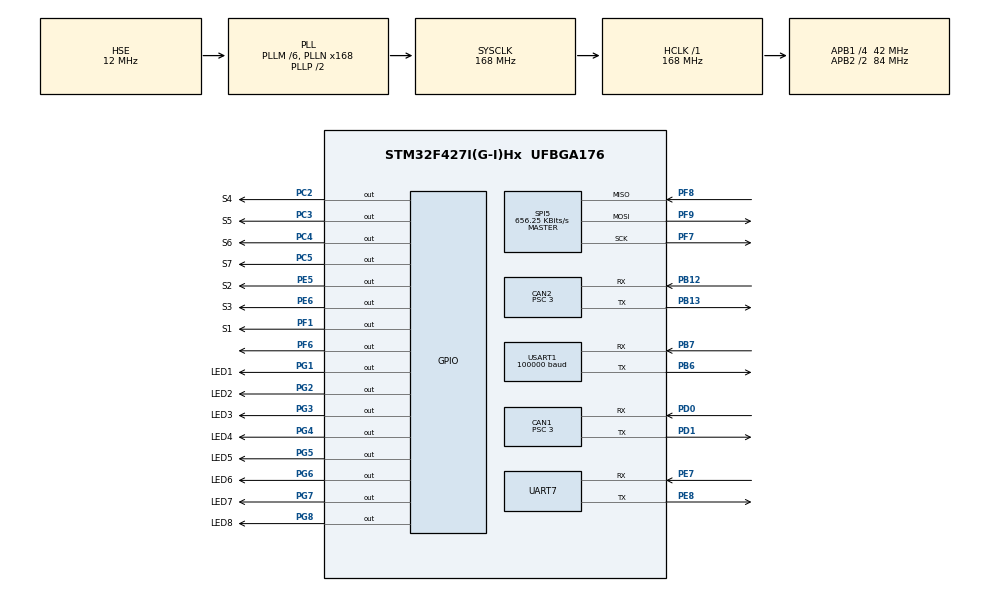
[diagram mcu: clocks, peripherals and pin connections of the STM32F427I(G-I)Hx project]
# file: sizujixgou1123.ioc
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CAN1.BS1=CAN_BS1_9TQ
CAN1.BS2=CAN_BS2_4TQ
CAN1.CalculateBaudRate=1000000
CAN1.CalculateTimeBit=1000
CAN1.CalculateTimeQuantum=71.42857142857143
CAN1.Prescaler=3
CAN1.SJW=CAN_SJW_1TQ
CAN2.BS1=CAN_BS1_9TQ
CAN2.BS2=CAN_BS2_4TQ
CAN2.CalculateBaudRate=1000000
CAN2.CalculateTimeBit=1000
CAN2.CalculateTimeQuantum=71.42857142857143
CAN2.Prescaler=3
Dma.Request0=USART1_RX
Dma.Request1=UART7_RX
Dma.UART7_RX.1.Direction=DMA_PERIPH_TO_MEMORY
Dma.UART7_RX.1.FIFOMode=DMA_FIFOMODE_DISABLE
Dma.UART7_RX.1.Instance=DMA1_Stream3
Dma.UART7_RX.1.MemDataAlignment=DMA_MDATAALIGN_BYTE
Dma.UART7_RX.1.MemInc=DMA_MINC_ENABLE
Dma.UART7_RX.1.Mode=DMA_NORMAL
Dma.UART7_RX.1.PeriphDataAlignment=DMA_PDATAALIGN_BYTE
Dma.UART7_RX.1.PeriphInc=DMA_PINC_DISABLE
Dma.UART7_RX.1.Priority=DMA_PRIORITY_LOW
Dma.USART1_RX.0.Direction=DMA_PERIPH_TO_MEMORY
Dma.USART1_RX.0.FIFOMode=DMA_FIFOMODE_DISABLE
Dma.USART1_RX.0.Instance=DMA2_Stream2
Dma.USART1_RX.0.MemDataAlignment=DMA_MDATAALIGN_BYTE
Dma.USART1_RX.0.MemInc=DMA_MINC_ENABLE
Dma.USART1_RX.0.Mode=DMA_NORMAL
Dma.USART1_RX.0.PeriphDataAlignment=DMA_PDATAALIGN_BYTE
Dma.USART1_RX.0.PeriphInc=DMA_PINC_DISABLE
Dma.USART1_RX.0.Priority=DMA_PRIORITY_VERY_HIGH
Mcu.Family=STM32F4
Mcu.Name=STM32F427I(G-I)Hx
Mcu.Package=UFBGA176
NVIC.CAN1_RX1_IRQn=true\:0\:0\:false\:false\:true\:true\:true\:true
NVIC.CAN2_RX1_IRQn=true\:0\:0\:false\:false\:true\:true\:true\:true
NVIC.DMA1_Stream3_IRQn=true\:0\:0\:false\:false\:true\:false\:true\:true
NVIC.DMA2_Stream2_IRQn=true\:0\:0\:false\:false\:true\:false\:true\:true
NVIC.PriorityGroup=NVIC_PRIORITYGROUP_4
NVIC.TIM2_IRQn=true\:15\:0\:false\:false\:true\:false\:true\:true
NVIC.TIM6_DAC_IRQn=true\:0\:0\:false\:false\:true\:true\:true\:true
NVIC.TIM7_IRQn=true\:0\:0\:false\:false\:true\:true\:true\:true
NVIC.TimeBase=TIM2_IRQn
NVIC.TimeBaseIP=TIM2
NVIC.UART7_IRQn=true\:0\:0\:false\:false\:true\:true\:true\:true
NVIC.USART1_IRQn=true\:0\:0\:false\:false\:true\:true\:true\:true
PA13.Mode=Serial_Wire
PA13.Signal=SYS_JTMS-SWDIO
PA14.Mode=Serial_Wire
PA14.Signal=SYS_JTCK-SWCLK
PB12.Mode=CAN_Activate
PB12.Signal=CAN2_RX
PB13.Mode=CAN_Activate
PB13.Signal=CAN2_TX
PB6.Mode=Asynchronous
PB6.Signal=USART1_TX
PB7.Mode=Asynchronous
PB7.Signal=USART1_RX
PC2.GPIO_Label=S4
PC2.GPIO_PuPd=GPIO_PULLDOWN
PC2.PinState=GPIO_PIN_RESET
PC2.Signal=GPIO_Output
PC3.GPIO_Label=S5
PC3.GPIO_PuPd=GPIO_PULLDOWN
PC3.Signal=GPIO_Output
PC4.GPIO_Label=S6
PC4.GPIO_PuPd=GPIO_PULLDOWN
PC4.Signal=GPIO_Output
PC5.GPIO_Label=S7
PC5.GPIO_PuPd=GPIO_PULLDOWN
PC5.Signal=GPIO_Output
PD0.Mode=CAN_Activate
PD0.Signal=CAN1_RX
PD1.Mode=CAN_Activate
PD1.Signal=CAN1_TX
PE5.GPIO_Label=S2
PE5.GPIO_PuPd=GPIO_PULLDOWN
PE5.Signal=GPIO_Output
PE6.GPIO_Label=S3
PE6.GPIO_PuPd=GPIO_PULLDOWN
PE6.Signal=GPIO_Output
PE7.Mode=Asynchronous
PE7.Signal=UART7_RX
PE8.Mode=Asynchronous
PE8.Signal=UART7_TX
PF1.GPIO_Label=S1
PF1.GPIO_PuPd=GPIO_PULLDOWN
PF1.Signal=GPIO_Output
PF6.Signal=GPIO_Output
PF7.Mode=Full_Duplex_Master
PF7.Signal=SPI5_SCK
PF8.Mode=Full_Duplex_Master
PF8.Signal=SPI5_MISO
PF9.Mode=Full_Duplex_Master
PF9.Signal=SPI5_MOSI
PG1.GPIO_Label=LED1
PG1.GPIO_PuPd=GPIO_PULLUP
PG1.Signal=GPIO_Output
PG2.GPIO_Label=LED2
PG2.GPIO_PuPd=GPIO_PULLUP
PG2.Signal=GPIO_Output
PG3.GPIO_Label=LED3
PG3.GPIO_PuPd=GPIO_PULLDOWN
PG3.Signal=GPIO_Output
PG4.GPIO_Label=LED4
PG4.GPIO_PuPd=GPIO_PULLUP
PG4.Signal=GPIO_Output
PG5.GPIO_Label=LED5
PG5.GPIO_PuPd=GPIO_PULLUP
PG5.Signal=GPIO_Output
PG6.GPIO_Label=LED6
PG6.GPIO_PuPd=GPIO_PULLUP
PG6.Signal=GPIO_Output
PG7.GPIO_Label=LED7
PG7.GPIO_PuPd=GPIO_PULLUP
PG7.Signal=GPIO_Output
PG8.GPIO_Label=LED8
PG8.GPIO_PuPd=GPIO_PULLUP
PG8.Signal=GPIO_Output
PH0/OSC_IN.Mode=HSE-External-Oscillator
PH0/OSC_IN.Signal=RCC_OSC_IN
PH1/OSC_OUT.Mode=HSE-External-Oscillator
PH1/OSC_OUT.Signal=RCC_OSC_OUT
ProjectManager.HeapSize=0x200
ProjectManager.StackSize=0x400
ProjectManager.TargetToolchain=MDK-ARM V5.32
RCC.48MHZClocksFreq_Value=84000000
RCC.AHBFreq_Value=168000000
RCC.APB1CLKDivider=RCC_HCLK_DIV4
RCC.APB1Freq_Value=42000000
RCC.APB1TimFreq_Value=84000000
RCC.APB2CLKDivider=RCC_HCLK_DIV2
RCC.APB2Freq_Value=84000000
RCC.APB2TimFreq_Value=168000000
RCC.CortexFreq_Value=168000000
RCC.HCLKFreq_Value=168000000
RCC.HSE_VALUE=12000000
RCC.HSI_VALUE=16000000
RCC.LSE_VALUE=32768
RCC.PLLM=6
RCC.PLLN=168
RCC.PLLSourceVirtual=RCC_PLLSOURCE_HSE
RCC.SYSCLKFreq_VALUE=168000000
RCC.SYSCLKSource=RCC_SYSCLKSOURCE_PLLCLK
RCC.VCOOutputFreq_Value=336000000
SPI5.BaudRatePrescaler=SPI_BAUDRATEPRESCALER_128
SPI5.CLKPhase=SPI_PHASE_2EDGE
SPI5.CLKPolarity=SPI_POLARITY_HIGH
SPI5.CalculateBaudRate=656.25 KBits/s
SPI5.Direction=SPI_DIRECTION_2LINES
SPI5.Mode=SPI_MODE_MASTER
SPI5.VirtualType=VM_MASTER
TIM6.AutoReloadPreload=TIM_AUTORELOAD_PRELOAD_ENABLE
TIM6.Period=4999
TIM6.Prescaler=8399
TIM7.AutoReloadPreload=TIM_AUTORELOAD_PRELOAD_ENABLE
TIM7.Period=4999
TIM7.Prescaler=8399
UART7.VirtualMode=Asynchronous
USART1.BaudRate=100000
USART1.Parity=PARITY_EVEN
USART1.StopBits=STOPBITS_2
USART1.VirtualMode=VM_ASYNC
USART1.WordLength=WORDLENGTH_9B
VP_SYS_VS_tim2.Mode=TIM2
VP_TIM6_VS_ClockSourceINT.Mode=Enable_Timer
VP_TIM6_VS_OPM.Mode=OPM_bit
VP_TIM7_VS_ClockSourceINT.Mode=Enable_Timer
VP_TIM7_VS_OPM.Mode=OPM_bit
board=custom

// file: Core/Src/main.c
/* USER CODE BEGIN Header */
/**
  ******************************************************************************
  * @file           : main.c
  * @brief          : Main program body
  ******************************************************************************
  * @attention
  *
  * Copyright (c) 2025 STMicroelectronics.
  * All rights reserved.
  *
  * This software is licensed under terms that can be found in the LICENSE file
  * in the root directory of this software component.
  * If no LICENSE file comes with this software, it is provided AS-IS.
  *
  ******************************************************************************
  */
/* USER CODE END Header */
#include "main.h"
#include "can.h"
#include "dma.h"
#include "spi.h"
#include "tim.h"
#include "usart.h"
#include "gpio.h"

/* USER CODE BEGIN Includes */
#include "cybergear.h"
#include "bsp_CAN.h"
#include "leg.h"
#include "stdio.h"
#include "sbus.h"
#include "mpu6500.h"

/* USER CODE END Includes */

/* USER CODE BEGIN PV */
char buf[300];
#define PI 3.1415926
const float dt = 0.01f;
/* USER CODE END PV */

void SystemClock_Config(void);
/* USER CODE BEGIN PFP */
// uint32_t ssy;
/* USER CODE END PFP */

int main(void)
{

  /* MCU Configuration--------------------------------------------------------*/

  /* Reset of all peripherals, Initializes the Flash interface and the Systick. */
  HAL_Init();

  /* Configure the system clock */
  SystemClock_Config();

  /* Initialize all configured peripherals */
  MX_GPIO_Init();
  MX_DMA_Init();
  MX_CAN1_Init();
  MX_CAN2_Init();
  MX_USART1_UART_Init();
  MX_UART7_Init();
  MX_TIM6_Init();
  MX_TIM7_Init();
  MX_SPI5_Init();
  /* USER CODE BEGIN 2 */
  can_bsp_init();
  //	HAL_UARTEx_ReceiveToIdle_DMA(&huart7, rx_buff, BUFF_SIZE*2);
	HAL_UARTEx_ReceiveToIdle_DMA(&huart1, rx_buff, BUFF_SIZE*2);
 	HAL_TIM_Base_Start_IT(&htim6);
	mpu_device_init();
  quadruped_init();
  static uint32_t last_led_tick = 0;
static GPIO_PinState led_state = GPIO_PIN_RESET;  // 初始状态（根据硬件决定亮灭）

// 初始设置 LED 为指定状态
HAL_GPIO_WritePin(GPIOG, LED1_Pin, led_state);

  uint32_t last_tick = HAL_GetTick();
  const float dt = 0.01f;
  /* USER CODE END 2 */

  /* Infinite loop */
  while (1)
  {

    /* USER CODE BEGIN 3 */
		  uint32_t now = HAL_GetTick();  // 获取当前系统时间（毫秒）

    // 原 10ms 任务
    if (now - last_tick >= 10) {
        last_tick = now;  // 注意：这里应使用更新后的 now，而不是再次调用 HAL_GetTick()

        // 步骤1：读取IMU数据
         mpu_get_data();

        // 步骤2：读取遥控器数据
        update_control_from_remote(&remoter);

        // 步骤3：更新步态
        update_quadruped_gait(dt);
    }

    // 新增：LED 非阻塞闪烁（周期 1000ms，即亮 500ms + 灭 500ms）
    if (now - last_led_tick >= 500) {
        last_led_tick = now;
        led_state = (led_state == GPIO_PIN_RESET) ? GPIO_PIN_SET : GPIO_PIN_RESET;
        HAL_GPIO_WritePin(GPIOG, LED1_Pin, led_state);
  }
}
  /* USER CODE END 3 */
}

void SystemClock_Config(void)
{
  RCC_OscInitTypeDef RCC_OscInitStruct = {0};
  RCC_ClkInitTypeDef RCC_ClkInitStruct = {0};

  /** Configure the main internal regulator output voltage
  */
  __HAL_RCC_PWR_CLK_ENABLE();
  __HAL_PWR_VOLTAGESCALING_CONFIG(PWR_REGULATOR_VOLTAGE_SCALE1);

  /** Initializes the RCC Oscillators according to the specified parameters
  * in the RCC_OscInitTypeDef structure.
  */
  RCC_OscInitStruct.OscillatorType = RCC_OSCILLATORTYPE_HSE;
  RCC_OscInitStruct.HSEState = RCC_HSE_ON;
  RCC_OscInitStruct.PLL.PLLState = RCC_PLL_ON;
  RCC_OscInitStruct.PLL.PLLSource = RCC_PLLSOURCE_HSE;
  RCC_OscInitStruct.PLL.PLLM = 6;
  RCC_OscInitStruct.PLL.PLLN = 168;
  RCC_OscInitStruct.PLL.PLLP = RCC_PLLP_DIV2;
  RCC_OscInitStruct.PLL.PLLQ = 4;
  if (HAL_RCC_OscConfig(&RCC_OscInitStruct) != HAL_OK)
  {
    Error_Handler();
  }

  /** Initializes the CPU, AHB and APB buses clocks
  */
  RCC_ClkInitStruct.ClockType = RCC_CLOCKTYPE_HCLK|RCC_CLOCKTYPE_SYSCLK
                              |RCC_CLOCKTYPE_PCLK1|RCC_CLOCKTYPE_PCLK2;
  RCC_ClkInitStruct.SYSCLKSource = RCC_SYSCLKSOURCE_PLLCLK;
  RCC_ClkInitStruct.AHBCLKDivider = RCC_SYSCLK_DIV1;
  RCC_ClkInitStruct.APB1CLKDivider = RCC_HCLK_DIV4;
  RCC_ClkInitStruct.APB2CLKDivider = RCC_HCLK_DIV2;

  if (HAL_RCC_ClockConfig(&RCC_ClkInitStruct, FLASH_LATENCY_5) != HAL_OK)
  {
    Error_Handler();
  }
}

void HAL_TIM_PeriodElapsedCallback(TIM_HandleTypeDef *htim)
{
  if (htim->Instance == TIM2)
  {
    HAL_IncTick();
  }
}

void Error_Handler(void)
{
  __disable_irq();
  while (1)
  {
  }
}
